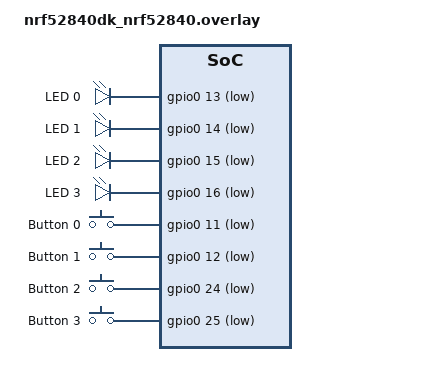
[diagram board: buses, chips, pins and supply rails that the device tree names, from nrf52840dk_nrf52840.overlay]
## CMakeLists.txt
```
# SPDX-License-Identifier: Apache-2.0

cmake_minimum_required(VERSION 3.20.0)
find_package(Zephyr REQUIRED HINTS $ENV{ZEPHYR_BASE})
project(server)

set(SOURCE_FILES
    src/main.c
    src/led.c
    src/button.c
    src/coap.c
    src/crypto.c
    src/json.c
)
target_sources(app PRIVATE ${SOURCE_FILES})
```

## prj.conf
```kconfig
#Enables Openthread FTD set
#CONFIG_OPENTHREAD_NORDIC_LIBRARY_FTD=y
#L2 Openthread enabling
CONFIG_NET_L2_OPENTHREAD=y
#Generic networking options
CONFIG_NETWORKING=y
#Enable CoAP protocol
CONFIG_OPENTHREAD_COAP=y

#Network parameters
CONFIG_OPENTHREAD_MANUAL_START=n
CONFIG_OPENTHREAD_NETWORK_NAME="WIA"
CONFIG_OPENTHREAD_PANID=10000
CONFIG_OPENTHREAD_XPANID="fb:02:00:00:ab:cd:00:00"
CONFIG_OPENTHREAD_NETWORKKEY="00:11:22:33:44:55:66:77:88:99:aa:bb:cc:dd:ee:ff"

#Network shell
CONFIG_SHELL=y
CONFIG_OPENTHREAD_SHELL=y
CONFIG_SHELL_ARGC_MAX=26
CONFIG_SHELL_CMD_BUFF_SIZE=416

#Additional params
#CONFIG_MBEDTLS_SHA1_C=n
CONFIG_FPU=y
CONFIG_GPIO=y
CONFIG_JSON_LIBRARY=y
CONFIG_CBPRINTF_FP_SUPPORT=y

CONFIG_CRYPTO=y
CONFIG_CRYPTO_INIT_PRIORITY=90

# Enable TinyCrypt for AES encryption
CONFIG_CRYPTO_TINYCRYPT_SHIM=y
CONFIG_TINYCRYPT=y
CONFIG_TINYCRYPT_AES=y
CONFIG_TINYCRYPT_SHA256=y

# prj.conf

CONFIG_NETWORKING=y
CONFIG_NET_IPV6=y
CONFIG_NET_UDP=y
CONFIG_COAP=y
CONFIG_COAP_LOG_LEVEL_DBG=y
CONFIG_COAP_SERVER=y
CONFIG_OPENTHREAD=y
CONFIG_OPENTHREAD_COAP=y
CONFIG_OPENTHREAD_THREAD_VERSION_1_1=y
CONFIG_LOG=y
CONFIG_GPIO=y
CONFIG_MAIN_STACK_SIZE=10240
```

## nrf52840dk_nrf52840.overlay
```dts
/ {
    chosen {
        zephyr,entropy = &rng;
    };

    aliases {
        led0 = &led_0;
        led1 = &led_1;
        led2 = &led_2;
        led3 = &led_3;
        button0 = &button_0;
        button1 = &button_1;
        button2 = &button_2;
        button3 = &button_3;
    };

    leds {
        compatible = "gpio-leds";
        led_0: led_0 {
            gpios = <&gpio0 13 GPIO_ACTIVE_LOW>;
            label = "LED 0";
        };
        led_1: led_1 {
            gpios = <&gpio0 14 GPIO_ACTIVE_LOW>;
            label = "LED 1";
        };
        led_2: led_2 {
            gpios = <&gpio0 15 GPIO_ACTIVE_LOW>;
            label = "LED 2";
        };
        led_3: led_3 {
            gpios = <&gpio0 16 GPIO_ACTIVE_LOW>;
            label = "LED 3";
        };
    };

    buttons {
        compatible = "gpio-keys";
        button_0: button_0 {
            gpios = <&gpio0 11 GPIO_ACTIVE_LOW>;
            label = "Button 0";
        };
        button_1: button_1 {
            gpios = <&gpio0 12 GPIO_ACTIVE_LOW>;
            label = "Button 1";
        };
        button_2: button_2 {
            gpios = <&gpio0 24 GPIO_ACTIVE_LOW>;
            label = "Button 2";
        };
        button_3: button_3 {
            gpios = <&gpio0 25 GPIO_ACTIVE_LOW>;
            label = "Button 3";
        };
    };
};
```

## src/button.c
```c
#include "button.h"
#include "led.h"
#include <zephyr/drivers/gpio.h>
#include <zephyr/kernel.h>

// Define Button devices
static const struct gpio_dt_spec b0 = GPIO_DT_SPEC_GET(DT_ALIAS(button0), gpios);
static const struct gpio_dt_spec b1 = GPIO_DT_SPEC_GET(DT_ALIAS(button1), gpios);
static const struct gpio_dt_spec b2 = GPIO_DT_SPEC_GET(DT_ALIAS(button2), gpios);
static const struct gpio_dt_spec b3 = GPIO_DT_SPEC_GET(DT_ALIAS(button3), gpios);

static struct gpio_callback button_cb_data;

extern bool led0_enabled, led1_enabled, led2_enabled, led3_enabled;
extern const struct gpio_dt_spec l0, l1, l2, l3;

void button_pressed(const struct device *dev, struct gpio_callback *cb, uint32_t pins) {
    if (pins & BIT(b0.pin)) {
        led0_enabled = !led0_enabled;
        gpio_pin_set_dt(&l0, led0_enabled);
    }
    if (pins & BIT(b1.pin)) {
        led1_enabled = !led1_enabled;
        gpio_pin_set_dt(&l1, led1_enabled);
    }
    if (pins & BIT(b2.pin)) {
        led2_enabled = !led2_enabled;
        gpio_pin_set_dt(&l2, led2_enabled);
    }
    if (pins & BIT(b3.pin)) {
        led3_enabled = !led3_enabled;
        gpio_pin_set_dt(&l3, led3_enabled);
    }
}

void configure_buttons(void) {
    gpio_pin_configure_dt(&b0, GPIO_INPUT | GPIO_PULL_UP);
    gpio_pin_configure_dt(&b1, GPIO_INPUT | GPIO_PULL_UP);
    gpio_pin_configure_dt(&b2, GPIO_INPUT | GPIO_PULL_UP);
    gpio_pin_configure_dt(&b3, GPIO_INPUT | GPIO_PULL_UP);

    gpio_init_callback(&button_cb_data, button_pressed, BIT(b0.pin) | BIT(b1.pin) | BIT(b2.pin) | BIT(b3.pin));
    gpio_add_callback(b0.port, &button_cb_data);
    gpio_add_callback(b1.port, &button_cb_data);
    gpio_add_callback(b2.port, &button_cb_data);
    gpio_add_callback(b3.port, &button_cb_data);

    gpio_pin_interrupt_configure_dt(&b0, GPIO_INT_EDGE_TO_ACTIVE);
    gpio_pin_interrupt_configure_dt(&b1, GPIO_INT_EDGE_TO_ACTIVE);
    gpio_pin_interrupt_configure_dt(&b2, GPIO_INT_EDGE_TO_ACTIVE);
    gpio_pin_interrupt_configure_dt(&b3, GPIO_INT_EDGE_TO_ACTIVE);
}
```

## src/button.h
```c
#ifndef BUTTON_H
#define BUTTON_H

#include <zephyr/kernel.h>
#include <zephyr/device.h>

struct gpio_callback; // Forward declaration

// Function prototypes
void button_pressed(const struct device *dev, struct gpio_callback *cb, uint32_t pins);
void configure_buttons(void);

#endif // BUTTON_H
```

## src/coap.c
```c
#include "coap.h"
#include "crypto.h"
#include <openthread/thread.h>
#include <openthread/coap.h>
#include <zephyr/net/openthread.h>
#include <zephyr/sys/printk.h>

// Buffer for data
#define TEXTBUFFER_SIZE 256
char myText[TEXTBUFFER_SIZE];
uint16_t myText_length = 0;

// Define CoAP resource 
static otCoapResource m_storedata_resource = {
    .mUriPath = "storedata",
    .mHandler = storedata_request_cb,
    .mContext = NULL,
    .mNext = NULL
};

static void storedata_respond_send(otMessage *p_request_message, const otMessageInfo *p_message_info) {
    otError error = OT_ERROR_NO_BUFS;
    otMessage *p_response;
    otInstance *p_instance = openthread_get_default_instance();

    p_response = otCoapNewMessage(p_instance, NULL);
    if (p_response == NULL) {
        printk("Failed to allocate message for CoAP request ! \n");
        return;
    }

    do {
        error = otCoapMessageInitResponse(p_response, p_request_message, OT_COAP_TYPE_ACKNOWLEDGMENT, OT_COAP_CODE_CHANGED);
        if (error != OT_ERROR_NONE) {
            break;
        }

        error = otCoapSendResponse(p_instance, p_response, p_message_info);
    } while (false);
    
    if (error != OT_ERROR_NONE) {
        printk("Failed to send store data response: %d\n", error);
        otMessageFree(p_response);
    }
}

void storedata_request_cb(void *p_context, otMessage *p_message, const otMessageInfo *p_message_info) {
    otCoapCode messageCode = otCoapMessageGetCode(p_message);
    otCoapType messageType = otCoapMessageGetType(p_message);

    do {
        if (messageType != OT_COAP_TYPE_CONFIRMABLE && messageType != OT_COAP_TYPE_NON_CONFIRMABLE) {
            break;
        }
        if (messageCode != OT_COAP_CODE_PUT) {
            break;
        }

        myText_length = otMessageRead(p_message, otMessageGetOffset(p_message), myText, TEXTBUFFER_SIZE - 1);
        myText[myText_length] = '\0';

        uint8_t decrypted_data[256];
        size_t decrypted_data_len = sizeof(decrypted_data);

        if (decrypt_data((const uint8_t *)myText, myText_length, decrypted_data, &decrypted_data_len) != 0) {
            printk("Decryption failed\n");
            return;
        }

        // Remove padding after decryption
        size_t unpadded_len = decrypted_data_len;
        while (unpadded_len > 0 && decrypted_data[unpadded_len - 1] == 0) {
            unpadded_len--;
        }
        decrypted_data[unpadded_len] = '\0';

        strncpy(myText, (char *)decrypted_data, TEXTBUFFER_SIZE - 1);
        myText[TEXTBUFFER_SIZE - 1] = '\0';

        if (messageType == OT_COAP_TYPE_CONFIRMABLE) {
            storedata_respond_send(p_message, p_message_info);
        }
    } while (false);
}

void coap_init(void) {
    otError error = OT_ERROR_NONE;
    otInstance *p_instance = openthread_get_default_instance();
    m_storedata_resource.mContext = p_instance;

    do {
        error = otCoapStart(p_instance, OT_DEFAULT_COAP_PORT);
        if (error != OT_ERROR_NONE) {
            break;
        }

        otCoapAddResource(p_instance, &m_storedata_resource);
    } while (false);

    if (error != OT_ERROR_NONE) {
        printk("coap_init error: %d\n", error);
    }
}
```

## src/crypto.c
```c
#include "crypto.h"
#include <tinycrypt/aes.h>
#include <tinycrypt/constants.h>
#include <zephyr/sys/printk.h>

#define AES_KEY_SIZE 16
#define AES_BLOCK_SIZE 16

// 16-byte AES key
uint8_t aes_key[AES_KEY_SIZE] = { 
    0x00, 0x01, 0x02, 0x03, 0x04, 0x05, 0x06, 0x07,
    0x08, 0x09, 0x0A, 0x0B, 0x0C, 0x0D, 0x0E, 0x0F
};

int decrypt_data(const uint8_t *input, size_t input_len, uint8_t *output, size_t *output_len) {
    struct tc_aes_key_sched_struct aes;

    if (tc_aes128_set_decrypt_key(&aes, aes_key) == TC_CRYPTO_FAIL) {
        printk("Failed to set AES decryption key!\n");
        return -1;
    }

    // Decrypt each block with AES-ECB
    for (size_t i = 0; i < input_len; i += AES_BLOCK_SIZE) {
        if (tc_aes_decrypt(output + i, input + i, &aes) == TC_CRYPTO_FAIL) {
            printk("AES decryption failed!\n");
            return -1;
        }
    }

    *output_len = input_len;

    return 0;
}
```

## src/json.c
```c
#include "json.h"
#include <zephyr/data/json.h>
#include <zephyr/kernel.h>
#include <zephyr/sys/printk.h>

#define TEXTBUFFER_SIZE 256

extern char myText[TEXTBUFFER_SIZE];

// Declare sensor_data as external
struct SensorData sensor_data;

static const struct json_obj_descr sensor_descr[] = {
    JSON_OBJ_DESCR_PRIM(struct SensorData, temperature, JSON_TOK_NUMBER),
    JSON_OBJ_DESCR_PRIM(struct SensorData, pressure, JSON_TOK_NUMBER),
    JSON_OBJ_DESCR_PRIM(struct SensorData, humidity, JSON_TOK_NUMBER),
    JSON_OBJ_DESCR_PRIM(struct SensorData, gas_resistance, JSON_TOK_NUMBER),
};

void parse_json_cb(struct k_work *work) {
    int ret = json_obj_parse(myText, strlen(myText), sensor_descr, ARRAY_SIZE(sensor_descr), &sensor_data);
    if (ret < 0) {
        printk("JSON Parse Error: %d\n", ret);
    } else {
        printk("temperature: %d\n", sensor_data.temperature);
        printk("pressure: %d\n", sensor_data.pressure);
        printk("humidity: %d\n", sensor_data.humidity);
        printk("gas_resistance: %d\n", sensor_data.gas_resistance);
    }
}

K_WORK_DEFINE(json_work, parse_json_cb);
```

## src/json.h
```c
#ifndef JSON_H
#define JSON_H

#include <zephyr/kernel.h>

// Structure to hold sensor data
struct SensorData {    
    int temperature;
    int pressure;
    int humidity;
    int gas_resistance;
};

// Function prototype
void parse_json_cb(struct k_work *work);

// External variables
extern struct k_work json_work;
extern struct SensorData sensor_data;

#endif // JSON_H
```

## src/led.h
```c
#ifndef LED_H
#define LED_H

#include <zephyr/kernel.h>
#include <zephyr/drivers/gpio.h>
#include "json.h"

// Function prototypes
void configure_leds(void);
void led_status(void);
void led_timer_cb(struct k_timer *dummy);

#define TEMP_MAX 26
#define TEMP_MIN 10
#define PRESS_MAX 100
#define PRESS_MIN 50
#define HUM_MAX 40
#define HUM_MIN 20
#define GAS_MAX 700000
#define GAS_MIN 600000


// External LED state variables
extern bool led0_enabled;
extern bool led1_enabled;
extern bool led2_enabled;
extern bool led3_enabled;

// External LED device structures
extern const struct gpio_dt_spec l0;
extern const struct gpio_dt_spec l1;
extern const struct gpio_dt_spec l2;
extern const struct gpio_dt_spec l3;

// External sensor data structure
extern struct SensorData sensor_data;

#endif // LED_H
```
